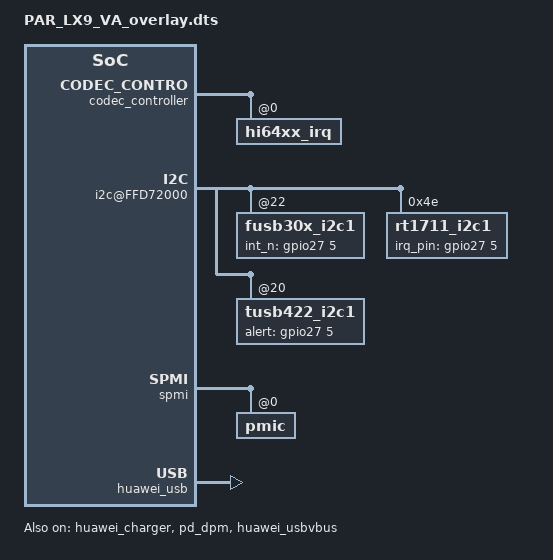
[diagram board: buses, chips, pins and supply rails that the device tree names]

/**
 * Copyright (C) 2014 Hisilicon Ltd.
 *
 *  This program is free software; you can redistribute it and/or modify
 *  it under the terms of the GNU General Public License version 2 as
 *  publishhed by the Free Software Foundation.
 */

/dts-v1/;
/plugin/;
/include/ "PAR_AL00_VA_overlay.dtsi"

/ {
	board_id = <6841>;
};

&rootparam {
        hisi,dtbo_idx = <145>;
    hisi,boardid = <6 8 4 1>;
    hisi,boardname = "PAR_LX9_VA";
};
&codec_controller {
		hi64xx_irq@0{
				hi6403_codec@0 {
						hisilicon,wakeup_hisi_algo_support = <0>;
				};
		};
	};

&amba {
	i2c@FFD72000 {
		status = "ok";
		fusb30x_i2c1@22 {
			fairchild,int_n = <&gpio27 5 0>;
			status = "ok";
		};
		rt1711_i2c1@4e {
			rt1711,irq_pin = <&gpio27 5 0>;
			reg = <0x4e>;
			status = "ok";
		};
		tusb422_i2c1@20 {
			ti,alert-gpio = <&gpio27 5 0>;
			status = "ok";
		};
	};
	i2c@FDF0D000 {
		typec@47{
			status = "disabled";
		};
		typec@21 {
			status = "disabled";
		};
		typec@1d {
			status = "disabled";
		};
		typec@1E {
			status = "disabled";
		};
	};
};
&spmi {
	pmic@0 {
		usbvbus {
			status = "disabled";
		};
	};
};
&huawei_charger {
	pd_support = <0x1>;
	status = "ok";
};
&pd_dpm {
	status = "ok";
	switch_manual_enable = <0>;
	abnormal_cc_detection = <1>;
	support_analog_audio = <0>;
	support_dp = <0>;
};
&huawei_usb {
	maximum-speed = "high-speed";
	status = "ok";
};
&huawei_usbvbus {
	support_pd = <1>;
	support_dp = <0>;
	status = "ok";
};
&audio_hw_config {
	audio_capability {
		/*
			use hisilicon wakeup engine.
			true: use hisilicon wakeup engine.
			false: DO NOT use hisilicon wakeup engine.
		*/
		wakeup_hisiengine = "false";
	};
};
&hisi_usb {
	usb_support_dp = <1>;
};
&sensorhub{
		rpc{
            		rpc{
			compatible = "huawei,rpc";
			file_id = <0x18>;
			sensor_list_info_id = <24>;
			sensor_type = "rpc";
			sensorlist_name = "rpc";
			mask = <0xFFFF 0xc200 0x200 0x200 0xFFFF 0xFFFF 0xFFFF 0xFFFF
				0xFFFF 0xFFFF 0xFFFF 0xFFFF 0xFFFF 0xFFFF 0xFFFF 0xFFFF
				0xFFFF 0xFFFF 0xFFFF 0xFFFF 0xFFFF 0xFFFF 0xFFFF 0xFFFF
				0xFFFF 0xFFFF 0xFFFF 0xFFFF 0xFFFF 0xFFFF 0xFFFF 0xFFFF>;
			table = <0xFFFF 0xc200 0x200 0x0 0xFFFF 0xFFFF 0xFFFF 0xFFFF
				 0xFFFF 0xFFFF 0xFFFF 0xFFFF 0xFFFF 0xFFFF 0xFFFF 0xFFFF
				 0xFFFF 0xFFFF 0xFFFF 0xFFFF 0xFFFF 0xFFFF 0xFFFF 0xFFFF
				 0xFFFF 0xFFFF 0xFFFF 0xFFFF 0xFFFF 0xFFFF 0xFFFF 0xFFFF>;
			default_value = <0x1D>;
			status = "ok";
            };
        };

};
